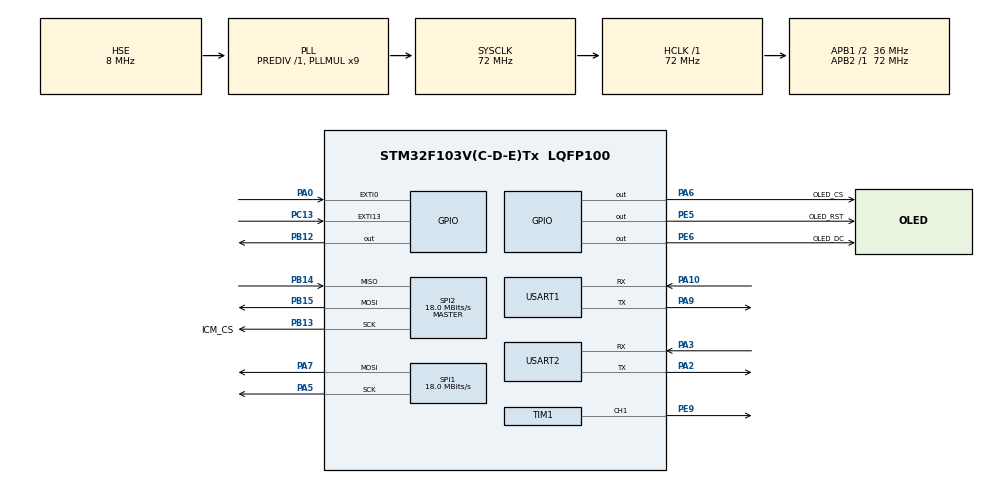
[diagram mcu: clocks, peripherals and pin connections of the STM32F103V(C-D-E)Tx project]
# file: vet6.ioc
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Mcu.Family=STM32F1
Mcu.Name=STM32F103V(C-D-E)Tx
Mcu.Package=LQFP100
NVIC.EXTI0_IRQn=true\:0\:0\:false\:false\:true\:true\:true
NVIC.EXTI15_10_IRQn=true\:0\:0\:false\:false\:true\:true\:true
NVIC.PriorityGroup=NVIC_PRIORITYGROUP_4
NVIC.TIM4_IRQn=true\:0\:0\:false\:false\:true\:true\:true
NVIC.USART1_IRQn=true\:0\:0\:false\:false\:true\:true\:true
NVIC.USART2_IRQn=true\:0\:0\:false\:false\:true\:true\:true
OSC_IN.Mode=HSE-External-Oscillator
OSC_IN.Signal=RCC_OSC_IN
OSC_OUT.Mode=HSE-External-Oscillator
OSC_OUT.Signal=RCC_OSC_OUT
PA0-WKUP.Signal=GPXTI0
PA10.Mode=Asynchronous
PA10.Signal=USART1_RX
PA13.Mode=Serial_Wire
PA13.Signal=SYS_JTMS-SWDIO
PA14.Mode=Serial_Wire
PA14.Signal=SYS_JTCK-SWCLK
PA2.Mode=Asynchronous
PA2.Signal=USART2_TX
PA3.Mode=Asynchronous
PA3.Signal=USART2_RX
PA5.Mode=TX_Only_Simplex_Unidirect_Master
PA5.Signal=SPI1_SCK
PA6.GPIO_Label=OLED_CS
PA6.Signal=GPIO_Output
PA7.Mode=TX_Only_Simplex_Unidirect_Master
PA7.Signal=SPI1_MOSI
PA9.Mode=Asynchronous
PA9.Signal=USART1_TX
PB12.Signal=GPIO_Output
PB13.GPIO_Label=ICM_CS
PB13.Mode=Full_Duplex_Master
PB13.Signal=SPI2_SCK
PB14.Mode=Full_Duplex_Master
PB14.Signal=SPI2_MISO
PB15.Mode=Full_Duplex_Master
PB15.Signal=SPI2_MOSI
PC13-TAMPER-RTC.Signal=GPXTI13
PE5.GPIO_Label=OLED_RST
PE5.Signal=GPIO_Output
PE6.GPIO_Label=OLED_DC
PE6.Signal=GPIO_Output
PE9.Signal=S_TIM1_CH1
ProjectManager.HeapSize=0x200
ProjectManager.StackSize=0x400
ProjectManager.TargetToolchain=MDK-ARM V5.32
RCC.AHBFreq_Value=72000000
RCC.APB1CLKDivider=RCC_HCLK_DIV2
RCC.APB1Freq_Value=36000000
RCC.APB1TimFreq_Value=72000000
RCC.APB2Freq_Value=72000000
RCC.APB2TimFreq_Value=72000000
RCC.HCLKFreq_Value=72000000
RCC.PLLMUL=RCC_PLL_MUL9
RCC.PLLSourceVirtual=RCC_PLLSOURCE_HSE
RCC.SYSCLKFreq_VALUE=72000000
RCC.SYSCLKSource=RCC_SYSCLKSOURCE_PLLCLK
RCC.USBFreq_Value=72000000
SH.S_TIM1_CH1.0=TIM1_CH1,PWM Generation1 CH1
SPI1.BaudRatePrescaler=SPI_BAUDRATEPRESCALER_4
SPI1.CalculateBaudRate=18.0 MBits/s
SPI1.Direction=SPI_DIRECTION_2LINES
SPI1.Mode=SPI_MODE_MASTER
SPI1.VirtualType=VM_MASTER
SPI2.BaudRatePrescaler=SPI_BAUDRATEPRESCALER_2
SPI2.CLKPhase=SPI_PHASE_1EDGE
SPI2.CLKPolarity=SPI_POLARITY_LOW
SPI2.CalculateBaudRate=18.0 MBits/s
SPI2.Direction=SPI_DIRECTION_2LINES
SPI2.Mode=SPI_MODE_MASTER
SPI2.VirtualType=VM_MASTER
TIM1.Channel-PWM\ Generation1\ CH1=TIM_CHANNEL_1
TIM1.Period=999
TIM1.Prescaler=1439
TIM4.Period=99
TIM4.Prescaler=7199
USART1.VirtualMode=VM_ASYNC
USART2.VirtualMode=VM_ASYNC
VP_TIM1_VS_ClockSourceINT.Mode=Internal
VP_TIM4_VS_ClockSourceINT.Mode=Internal
board=custom

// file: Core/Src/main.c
/* USER CODE BEGIN Header */
/**
  ******************************************************************************
  * @file           : main.c
  * @brief          : Main program body
  ******************************************************************************
  * @attention
  *
  * <h2><center>&copy; Copyright (c) 2021 STMicroelectronics.
  * All rights reserved.</center></h2>
  *
  * This software component is licensed by ST under BSD 3-Clause license,
  * the "License"; You may not use this file except in compliance with the
  * License. You may obtain a copy of the License at:
  *                        opensource.org/licenses/BSD-3-Clause
  *
  ******************************************************************************
  */
/* USER CODE END Header */
#include "main.h"
#include "spi.h"
#include "tim.h"
#include "usart.h"
#include "gpio.h"

/* USER CODE BEGIN Includes */
#include "stdio.h"
#include "oled.h"
#include "icm20602.h"
#include "attitude_solution.h"
// #include "mpu6050.h"
// #include "dma.h"
#include "ServoMotor.h"
#include "protocol.h"
#include "usmart.h"
/* USER CODE END Includes */

void SystemClock_Config(void);

int main(void)
{

    /* MCU Configuration--------------------------------------------------------*/

    /* Reset of all peripherals, Initializes the Flash interface and the Systick. */
    HAL_Init();

    /* Configure the system clock */
    SystemClock_Config();

    /* Initialize all configured peripherals */
    MX_GPIO_Init();
    MX_SPI1_Init();
    MX_TIM1_Init();
    MX_USART1_UART_Init();
    MX_TIM4_Init();
    MX_SPI2_Init();
    MX_USART2_UART_Init();
    /* USER CODE BEGIN 2 */

    __HAL_UART_ENABLE_IT(&huart1, UART_IT_RXNE);
    __HAL_UART_ENABLE_IT(&huart2, UART_IT_RXNE);
    HAL_TIM_Base_Start_IT(&htim4);
    HAL_TIM_PWM_Start(&PWM_TIM_HANDLE, PWM_TIM_CHANNLE);

    OLED_Init();

    icm20602_init_spi();

    PID_Init(&pid, 0, 0.2, 0.2, 0.2);
    PID_Reset(&pid);

#ifdef PID_ASSISTANT_EN
    protocol_init();

    set_computer_value(SEND_TARGET_CMD, CURVES_CH1, &pid.target, 1);

    float pid_temp[3] = {pid.Kp, pid.Ki, pid.Kd};
    set_computer_value(SEND_P_I_D_CMD, CURVES_CH1, pid_temp, 3);

    uint32_t temp = GET_BASIC_TIM_PERIOD();
    set_computer_value(SEND_PERIOD_CMD, CURVES_CH1, &temp, 1);

#endif

#ifdef USMART_EN
    usmart_init(72);
#endif

    angle = 90;
    Steering_SetAngle(angle, TIM_CHANNEL_1);
    /* USER CODE END 2 */

    /* Infinite loop */
    /* USER CODE BEGIN WHILE */
    printf("system reset complete\r\n");

    while (1)
    {

        if (OLED_Display == 0)
        {
            OLED_WriteString("Pitch", 0, 8);
            OLED_WriteNumber(eulerAngle.pitch, 48, 8);
            OLED_WriteString("Roll", 0, 24);
            OLED_WriteNumber(eulerAngle.roll, 48, 24);
            OLED_WriteString("Yaw", 0, 40);
            OLED_WriteNumber(eulerAngle.yaw, 48, 40);
            OLED_WriteString("Angle", 0, 56);
            OLED_WriteNumber(angle, 48, 56);
        }
        else
        {
            OLED_WriteString("Kp", 0, 8);
            OLED_WriteNumber((pid.Kp * 100), 48, 8);
            OLED_WriteString("Ki", 0, 24);
            OLED_WriteNumber((pid.Ki * 100), 48, 24);
            OLED_WriteString("Kd", 0, 40);
            OLED_WriteNumber((pid.Kd * 100), 48, 40);
            OLED_WriteString("Target", 0, 56);
            OLED_WriteNumber(pid.target, 48, 56);
        }
        OLED_Update();
        /* USER CODE END WHILE */

        /* USER CODE BEGIN 3 */

#ifdef USMART_EN
        usmart_scan();
#endif

#ifdef PID_ASSISTANT_EN
        receiving_process();
#endif
    }
    /* USER CODE END 3 */
}

void SystemClock_Config(void)
{
    RCC_OscInitTypeDef RCC_OscInitStruct = {0};
    RCC_ClkInitTypeDef RCC_ClkInitStruct = {0};

    /** Initializes the RCC Oscillators according to the specified parameters
  * in the RCC_OscInitTypeDef structure.
  */
    RCC_OscInitStruct.OscillatorType = RCC_OSCILLATORTYPE_HSE;
    RCC_OscInitStruct.HSEState = RCC_HSE_ON;
    RCC_OscInitStruct.HSEPredivValue = RCC_HSE_PREDIV_DIV1;
    RCC_OscInitStruct.HSIState = RCC_HSI_ON;
    RCC_OscInitStruct.PLL.PLLState = RCC_PLL_ON;
    RCC_OscInitStruct.PLL.PLLSource = RCC_PLLSOURCE_HSE;
    RCC_OscInitStruct.PLL.PLLMUL = RCC_PLL_MUL9;
    if (HAL_RCC_OscConfig(&RCC_OscInitStruct) != HAL_OK)
    {
        Error_Handler();
    }
    /** Initializes the CPU, AHB and APB buses clocks
  */
    RCC_ClkInitStruct.ClockType = RCC_CLOCKTYPE_HCLK | RCC_CLOCKTYPE_SYSCLK | RCC_CLOCKTYPE_PCLK1 | RCC_CLOCKTYPE_PCLK2;
    RCC_ClkInitStruct.SYSCLKSource = RCC_SYSCLKSOURCE_PLLCLK;
    RCC_ClkInitStruct.AHBCLKDivider = RCC_SYSCLK_DIV1;
    RCC_ClkInitStruct.APB1CLKDivider = RCC_HCLK_DIV2;
    RCC_ClkInitStruct.APB2CLKDivider = RCC_HCLK_DIV1;

    if (HAL_RCC_ClockConfig(&RCC_ClkInitStruct, FLASH_LATENCY_2) != HAL_OK)
    {
        Error_Handler();
    }
}

/* USER CODE BEGIN 4 */
int fputc(int ch, FILE *f)
{
    HAL_UART_Transmit(&huart2, (uint8_t *)&ch, 1, 0xFFFF);
    return (ch);
}

/* USER CODE END 4 */

void Error_Handler(void)
{
    __disable_irq();
    while (1)
    {
    }
}

/************************ (C) COPYRIGHT STMicroelectronics *****END OF FILE****/
